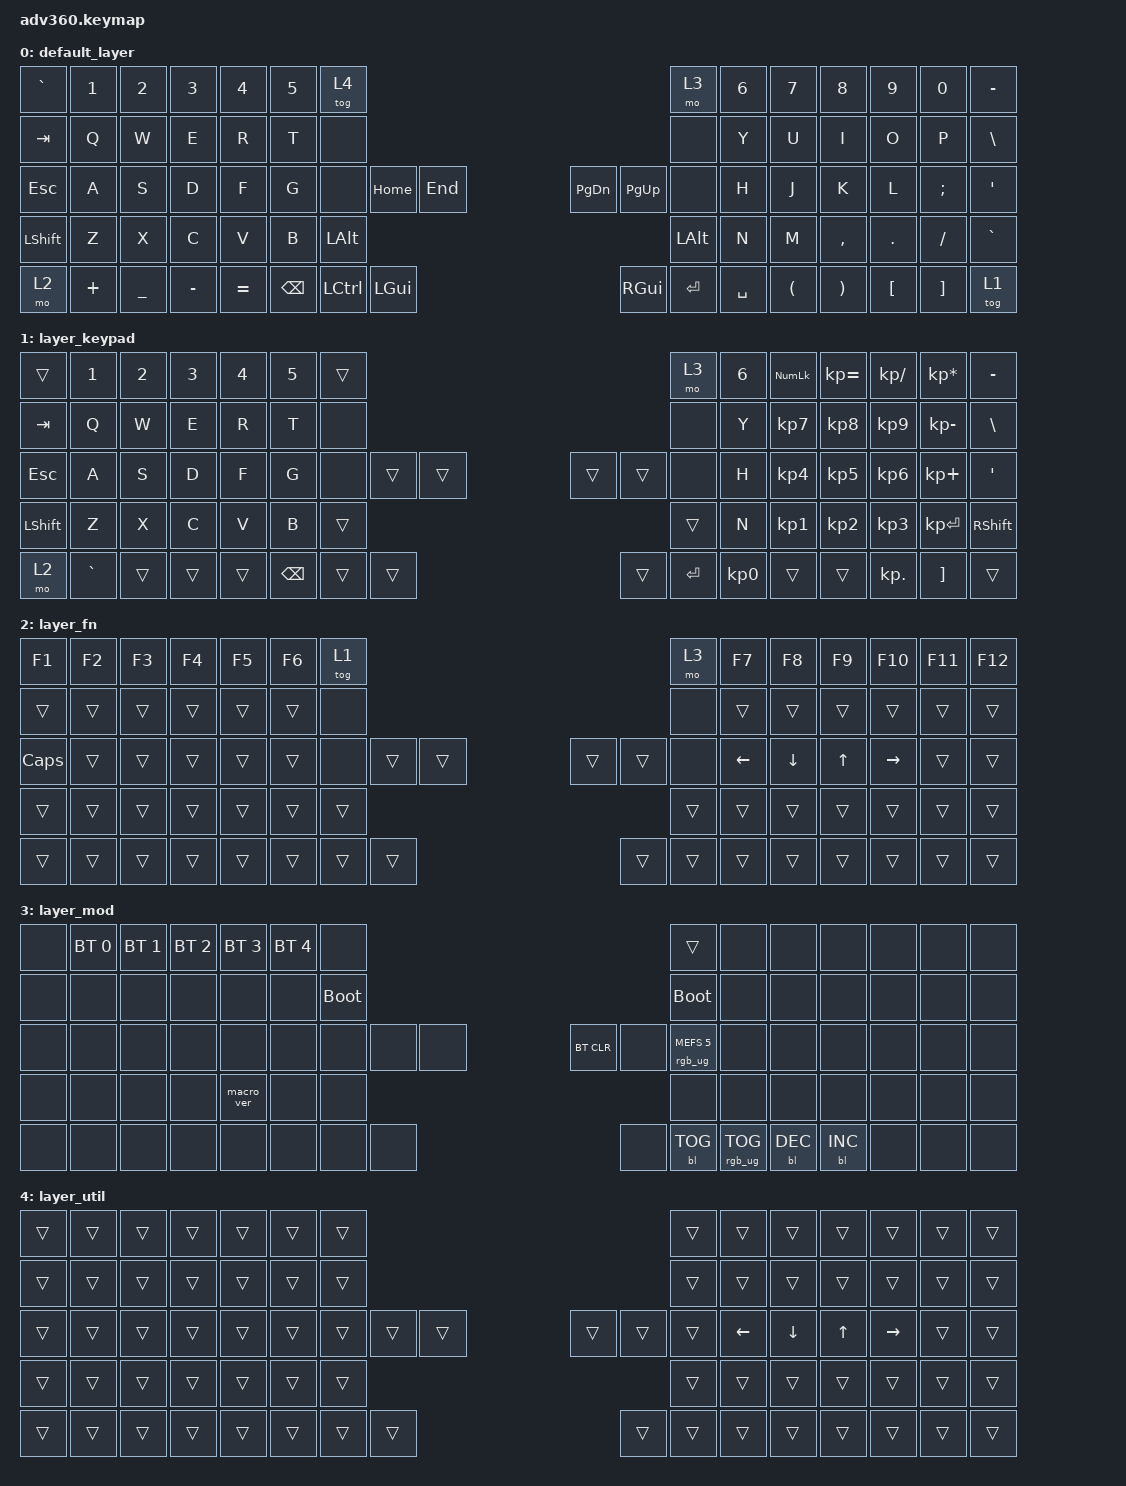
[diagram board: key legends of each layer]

/*
 * Copyright (c) 2020 The ZMK Contributors
 *
 * SPDX-License-Identifier: MIT
 */


/* THIS FILE WAS GENERATED!
 *
 * This file was generated automatically. You may or may not want to
 * edit it directly.
 */

#include <behaviors.dtsi>
#include <dt-bindings/zmk/keys.h>
#include <dt-bindings/zmk/bt.h>
#include <dt-bindings/zmk/rgb.h>
#include <dt-bindings/zmk/backlight.h>

/ {
  behaviors {
    #include "macros.dtsi"
    #include "version.dtsi"

    hm: homerow_mods {
        compatible = "zmk,behavior-hold-tap";
        label = "HOMEROW_MODS";
        #binding-cells = <2>;
        tapping-term-ms = <200>;
        quick_tap_ms = <175>;
        flavor = "tap-preferred";
        bindings = <&kp>, <&kp>;
    };
  };

    keymap {
        compatible = "zmk,keymap";


        default_layer {
            bindings = <
 &kp GRAVE    &kp N1          &kp N2     &kp N3     &kp N4  &kp N5              &tog 4                                                                 &mo 3  &kp N6                &kp N7                 &kp N8    &kp N9    &kp N0  &kp MINUS
   &kp TAB     &kp Q           &kp W      &kp E      &kp R   &kp T               &none                                                                 &none   &kp Y                 &kp U                  &kp I     &kp O     &kp P   &kp BSLH
   &kp ESC     &kp A           &kp S      &kp D      &kp F   &kp G               &none   &kp HOME   &kp END                  &kp PG_DN  &kp PG_UP      &none   &kp H                 &kp J                  &kp K     &kp L  &kp SEMI    &kp SQT
 &kp LSHFT     &kp Z           &kp X      &kp C      &kp V   &kp B                                 &kp LALT                   &kp LALT                         &kp N                 &kp M              &kp COMMA   &kp DOT  &kp FSLH  &kp GRAVE
     &mo 2  &kp PLUS  &kp UNDERSCORE  &kp MINUS  &kp EQUAL                    &kp BSPC  &kp LCTRL  &kp LGUI                   &kp RGUI  &kp ENTER  &kp SPACE          &kp LEFT_PARENTHESIS  &kp RIGHT_PARENTHESIS  &kp LBKT  &kp RBKT     &tog 1
            >;
        };

        layer_keypad {
            bindings = <
    &trans     &kp N1  &kp N2  &kp N3  &kp N4  &kp N5              &trans                                                         &mo 3  &kp N6  &kp KP_NUM  &kp KP_EQUAL  &kp KP_DIVIDE  &kp KP_MULTIPLY  &kp MINUS
   &kp TAB      &kp Q   &kp W   &kp E   &kp R   &kp T               &none                                                         &none   &kp Y   &kp KP_N7     &kp KP_N8      &kp KP_N9     &kp KP_MINUS   &kp BSLH
   &kp ESC      &kp A   &kp S   &kp D   &kp F   &kp G               &none  &trans  &trans                  &trans     &trans      &none   &kp H   &kp KP_N4     &kp KP_N5      &kp KP_N6      &kp KP_PLUS    &kp SQT
 &kp LSHFT      &kp Z   &kp X   &kp C   &kp V   &kp B                              &trans                  &trans                         &kp N   &kp KP_N1     &kp KP_N2      &kp KP_N3     &kp KP_ENTER  &kp RSHFT
     &mo 2  &kp GRAVE  &trans  &trans  &trans                    &kp BSPC  &trans  &trans                  &trans  &kp ENTER  &kp KP_N0              &trans        &trans     &kp KP_DOT         &kp RBKT     &trans
            >;
        };

        layer_fn {
            bindings = <
   &kp F1  &kp F2  &kp F3  &kp F4  &kp F5  &kp F6            &tog 1                                                   &mo 3          &kp F7          &kp F8        &kp F9          &kp F10  &kp F11  &kp F12
   &trans  &trans  &trans  &trans  &trans  &trans             &none                                                   &none          &trans          &trans        &trans           &trans   &trans   &trans
 &kp CAPS  &trans  &trans  &trans  &trans  &trans             &none  &trans  &trans                  &trans  &trans   &none  &kp LEFT_ARROW  &kp DOWN_ARROW  &kp UP_ARROW  &kp RIGHT_ARROW   &trans   &trans
   &trans  &trans  &trans  &trans  &trans  &trans                            &trans                  &trans                          &trans          &trans        &trans           &trans   &trans   &trans
   &trans  &trans  &trans  &trans  &trans                    &trans  &trans  &trans                  &trans  &trans  &trans                          &trans        &trans           &trans   &trans   &trans
            >;
        };

        layer_mod {
            bindings = <
  &none  &bt BT_SEL 0  &bt BT_SEL 1  &bt BT_SEL 2  &bt BT_SEL 3  &bt BT_SEL 4                  &none                                                                          &trans   &none       &none       &none   &none   &none   &none
  &none         &none         &none         &none         &none         &none            &bootloader                                                                     &bootloader   &none       &none       &none   &none   &none   &none
  &none         &none         &none         &none         &none         &none                  &none   &none   &none                  &bt BT_CLR       &none  &rgb_ug RGB_MEFS_CMD 5   &none       &none       &none   &none   &none   &none
  &none         &none         &none         &none    &macro_ver         &none                                  &none                       &none                                       &none       &none       &none   &none   &none   &none
  &none         &none         &none         &none         &none                                &none   &none   &none                       &none  &bl BL_TOG         &rgb_ug RGB_TOG          &bl BL_DEC  &bl BL_INC   &none   &none   &none
            >;
        };

        layer_util {
            bindings = <
 &trans  &trans  &trans  &trans  &trans  &trans            &trans                                                  &trans          &trans          &trans        &trans           &trans  &trans  &trans
 &trans  &trans  &trans  &trans  &trans  &trans            &trans                                                  &trans          &trans          &trans        &trans           &trans  &trans  &trans
 &trans  &trans  &trans  &trans  &trans  &trans            &trans  &trans  &trans                  &trans  &trans  &trans  &kp LEFT_ARROW  &kp DOWN_ARROW  &kp UP_ARROW  &kp RIGHT_ARROW  &trans  &trans
 &trans  &trans  &trans  &trans  &trans  &trans                            &trans                  &trans                          &trans          &trans        &trans           &trans  &trans  &trans
 &trans  &trans  &trans  &trans  &trans                    &trans  &trans  &trans                  &trans  &trans  &trans                          &trans        &trans           &trans  &trans  &trans
            >;
        };

    };
};
